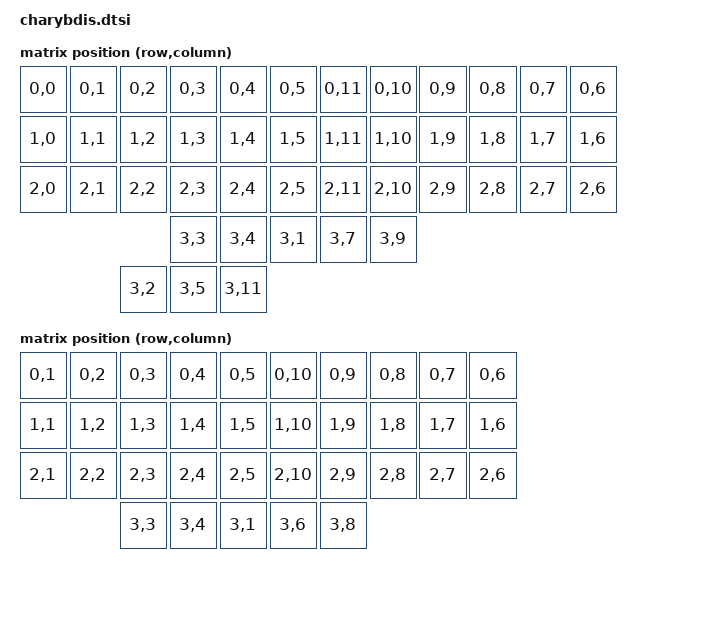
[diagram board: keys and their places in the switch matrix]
#include <dt-bindings/zmk/matrix_transform.h>
#include "charybdis-layouts.dtsi"

/ {
    // chosen {
    //     zmk,kscan = &kscan0;
    //     zmk,matrix_transform = &default_transform;
    // };
    chosen {
        zmk,kscan = &kscan0;
        zmk,physical-layout = &charybdis_physical_layout;
	zephyr,display = &oled;
    };

    vbatt: vbatt {
	compatible = "zmk,battery-nrf-vddh";
    };

    default_transform: keymap_transform_0 {
        compatible = "zmk,matrix-transform";
        columns = <12>;
        rows = <4>;

        map = <
	RC(0,0) RC(0,1) RC(0,2) RC(0,3) RC(0,4) RC(0,5)  RC(0,11) RC(0,10) RC(0,9) RC(0,8) RC(0,7) RC(0,6)
	RC(1,0) RC(1,1) RC(1,2) RC(1,3) RC(1,4) RC(1,5)  RC(1,11) RC(1,10) RC(1,9) RC(1,8) RC(1,7) RC(1,6)
	RC(2,0) RC(2,1) RC(2,2) RC(2,3) RC(2,4) RC(2,5)  RC(2,11) RC(2,10) RC(2,9) RC(2,8) RC(2,7) RC(2,6)
							RC(3,3) RC(3,4) RC(3,1)  RC(3,7)  RC(3,9)
					RC(3,2) RC(3,5)  RC(3,11)
        >;
    };

    five_column_transform: keymap_transform_1 {
        compatible = "zmk,matrix-transform";
        columns = <10>;
        rows = <4>;

        map = <
	RC(0,1) RC(0,2) RC(0,3) RC(0,4) RC(0,5)  RC(0,10) RC(0,9) RC(0,8) RC(0,7) RC(0,6)
	RC(1,1) RC(1,2) RC(1,3) RC(1,4) RC(1,5)  RC(1,10) RC(1,9) RC(1,8) RC(1,7) RC(1,6)
	RC(2,1) RC(2,2) RC(2,3) RC(2,4) RC(2,5)  RC(2,10) RC(2,9) RC(2,8) RC(2,7) RC(2,6)
					RC(3,3) RC(3,4) RC(3,1)  RC(3,6)  RC(3,8)
        >;
    };
	
    kscan0: kscan {
        wakeup-source;
        diode-direction = "row2col";
    };
};

&pinctrl {
    i2c1_default: i2c1_default {
        group1 {
            psels = <NRF_PSEL(TWIM_SDA, 1, 11)>,
                    <NRF_PSEL(TWIM_SCL, 1, 13)>;
        };
    };

    i2c1_sleep: i2c1_sleep {
        group1 {
            psels = <NRF_PSEL(TWIM_SDA, 1, 11)>,
                    <NRF_PSEL(TWIM_SCL, 1, 13)>;
            low-power-enable;
        };
    };
};

&i2c1 {
    status = "okay";
    compatible = "nordic,nrf-twi";
    pinctrl-0 = <&i2c1_default>;
    pinctrl-1 = <&i2c1_sleep>;
    pinctrl-names = "default", "sleep";

    oled: ssd1306@3c {
        compatible = "solomon,ssd1306fb";
        reg = <0x3c>;
        width = <128>;
        height = <32>;
        segment-offset = <0>;
        page-offset = <0>;
        display-offset = <0>;
        multiplex-ratio = <31>;
        segment-remap;
        com-invdir;
        com-sequential;
        inversion-on;
        prechargep = <0x22>;
    };
};
